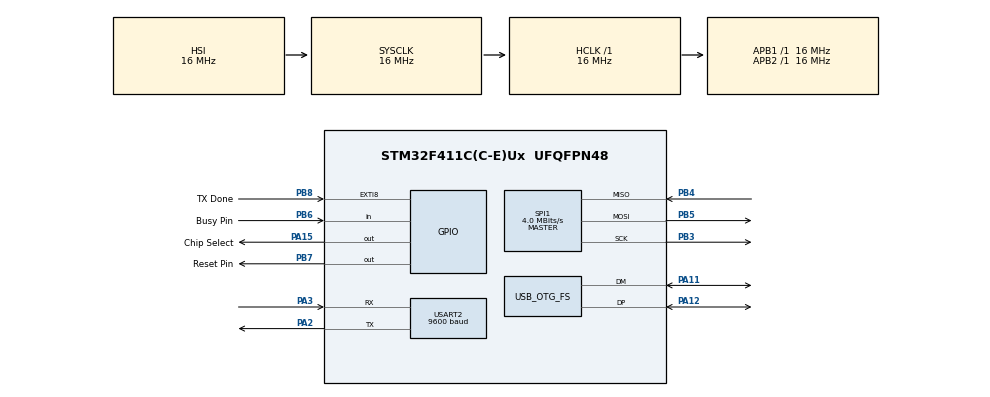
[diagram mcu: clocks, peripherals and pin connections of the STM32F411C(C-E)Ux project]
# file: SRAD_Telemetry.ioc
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Mcu.Family=STM32F4
Mcu.Name=STM32F411C(C-E)Ux
Mcu.Package=UFQFPN48
NVIC.EXTI9_5_IRQn=true\:0\:0\:false\:false\:true\:true\:true\:true
NVIC.OTG_FS_IRQn=true\:0\:0\:false\:false\:true\:true\:true\:true
NVIC.PriorityGroup=NVIC_PRIORITYGROUP_4
NVIC.USART2_IRQn=true\:0\:0\:false\:false\:true\:true\:true\:true
PA11.Mode=Device_Only
PA11.Signal=USB_OTG_FS_DM
PA12.Mode=Device_Only
PA12.Signal=USB_OTG_FS_DP
PA13.Mode=Serial_Wire
PA13.Signal=SYS_JTMS-SWDIO
PA14.Mode=Serial_Wire
PA14.Signal=SYS_JTCK-SWCLK
PA15.GPIO_Label=Chip Select
PA15.GPIO_Speed=GPIO_SPEED_FREQ_VERY_HIGH
PA15.Signal=GPIO_Output
PA2.Mode=Asynchronous
PA2.Signal=USART2_TX
PA3.Mode=Asynchronous
PA3.Signal=USART2_RX
PB3.Mode=Full_Duplex_Master
PB3.Signal=SPI1_SCK
PB4.Mode=Full_Duplex_Master
PB4.Signal=SPI1_MISO
PB5.Mode=Full_Duplex_Master
PB5.Signal=SPI1_MOSI
PB6.GPIO_Label=Busy Pin
PB6.GPIO_PuPd=GPIO_NOPULL
PB6.Signal=GPIO_Input
PB7.GPIO_Label=Reset Pin
PB7.GPIO_PuPd=GPIO_NOPULL
PB7.GPIO_Speed=GPIO_SPEED_FREQ_VERY_HIGH
PB7.Signal=GPIO_Output
PB8.GPIO_Label=TX Done
PB8.GPIO_ModeDefaultEXTI=GPIO_MODE_IT_RISING
PB8.GPIO_PuPd=GPIO_PULLDOWN
PB8.Signal=GPXTI8
PC14-OSC32_IN.Mode=LSE-External-Oscillator
PC14-OSC32_IN.Signal=RCC_OSC32_IN
PC15-OSC32_OUT.Mode=LSE-External-Oscillator
PC15-OSC32_OUT.Signal=RCC_OSC32_OUT
PH0\ -\ OSC_IN.Mode=HSE-External-Oscillator
PH0\ -\ OSC_IN.Signal=RCC_OSC_IN
PH1\ -\ OSC_OUT.Mode=HSE-External-Oscillator
PH1\ -\ OSC_OUT.Signal=RCC_OSC_OUT
ProjectManager.HeapSize=0x200
ProjectManager.StackSize=0x400
ProjectManager.TargetToolchain=STM32CubeIDE
RCC.48MHZClocksFreq_Value=48000000
RCC.AHBFreq_Value=16000000
RCC.APB1Freq_Value=16000000
RCC.APB2Freq_Value=16000000
RCC.CortexFreq_Value=16000000
RCC.HSE_VALUE=25000000
RCC.HSI_VALUE=16000000
RCC.PLLM=25
RCC.SYSCLKFreq_VALUE=16000000
RCC.VCOOutputFreq_Value=192000000
SPI1.BaudRatePrescaler=SPI_BAUDRATEPRESCALER_4
SPI1.CalculateBaudRate=4.0 MBits/s
SPI1.Direction=SPI_DIRECTION_2LINES
SPI1.Mode=SPI_MODE_MASTER
SPI1.VirtualType=VM_MASTER
USART2.BaudRate=9600
USART2.VirtualMode=VM_ASYNC
USB_DEVICE.CLASS_NAME_FS=CDC
USB_DEVICE.VirtualMode=Cdc
USB_DEVICE.VirtualModeFS=Cdc_FS
USB_OTG_FS.VirtualMode=Device_Only
VP_USB_DEVICE_VS_USB_DEVICE_CDC_FS.Mode=CDC_FS
board=custom

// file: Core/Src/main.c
/* USER CODE BEGIN Header */
/**
  ******************************************************************************
  * @file           : main.c
  * @brief          : Main program body
  ******************************************************************************
  * @attention
  *
  * Copyright (c) 2024 STMicroelectronics.
  * All rights reserved.
  *
  * This software is licensed under terms that can be found in the LICENSE file
  * in the root directory of this software component.
  * If no LICENSE file comes with this software, it is provided AS-IS.
  *
  ******************************************************************************
  */
/* USER CODE END Header */
#include "main.h"
#include "usb_device.h"

/* USER CODE BEGIN Includes */
#include <stdarg.h>

#include "lr_fhss_mac.h"
#include "lr_fhss_v1_base_types.h"
#include "lr_fhss_mac.h"
#include "sx126x_driver_version.h"
#include "sx126x_hal.h"
#include "sx126x_lr_fhss.h"
#include "sx126x_regs.h"
#include "sx126x.h"
#include "context.h"

/* USER CODE END Includes */

/* USER CODE BEGIN PD */
#define DEBUG_BUFFER_SIZE 128
/* USER CODE END PD */

SPI_HandleTypeDef hspi1;

UART_HandleTypeDef huart2;

void SystemClock_Config(void);
static void MX_GPIO_Init(void);
static void MX_USART2_UART_Init(void);
static void MX_SPI1_Init(void);
/* USER CODE BEGIN PFP */

void sx126x_init(e22trans *transmitter);
/* USER CODE END PFP */

/* USER CODE BEGIN 0 */
extern uint8_t CDC_Transmit_FS(uint8_t* Buf, uint16_t Len);

uint8_t gpsBuff[82];
uint8_t txDone = 0;

// This function takes a C-string, calculates its length, and sends it via CDC
void debugPrintf(const char* format, ...) {

	static char debugBuffer[DEBUG_BUFFER_SIZE];
    va_list args;
    va_start(args, format);

    // vsnprintf writes to debugBuffer, up to its size, including null terminator
    vsnprintf(debugBuffer, DEBUG_BUFFER_SIZE, format, args);

    va_end(args);

    // Now send the buffer over USB CDC
    CDC_Transmit_FS((uint8_t*)debugBuffer, (uint16_t)strlen(debugBuffer));
}

/* USER CODE END 0 */

int main(void)
{

  /* USER CODE BEGIN 1 */
//e22 stm32 context and param struct
 e22trans transmitter = {

	//Hardware context
	 {GPIOA, 			// Chip select port
	  GPIO_PIN_15,		// Chip select pin
	  GPIOB, 			// Busy pin port
	  GPIO_PIN_6, 		// Busy pin
	  GPIOB,			// Reset pin port
	  GPIO_PIN_7, 		// Reset pin
	  GPIOB,			// TxDone Port
	  GPIO_PIN_8,		// TxDone Pin
	  &hspi1}, 			// SPI handler

	//Lora params
	 {SX126X_LORA_SF12,   // Spreading Factor
	  SX126X_LORA_BW_125, // Bandwidth
	  SX126X_LORA_CR_4_8, // Coding Rate
	  0x00},			  // Low data rate optimize

	 //lora packet params
	 {12,    			// Preamble length in bits
	  0x00,    		    // Header type
	  7,				// Payload Length in bytes
	  0,   			    // Crc type
	  0},				// Invert IQ

	//Power Amplifier params
	 {0x04, 			// Pa_duty_cycle;
	  0x01, 			// Hp_max;
	  0x00, 			// Device_sel;
	  0x01}, 			// Pa_lut;*/

	//Misc
	  4,				// Output power in dbm
	  915000000,		// Frequency
	  "VA7GLW",         // Callsign
 };

  /* USER CODE END 1 */

  /* MCU Configuration--------------------------------------------------------*/

  /* Reset of all peripherals, Initializes the Flash interface and the Systick. */
  HAL_Init();

  /* Configure the system clock */
  SystemClock_Config();

  /* Initialize all configured peripherals */
  MX_GPIO_Init();
  MX_USB_DEVICE_Init();
  MX_USART2_UART_Init();
  MX_SPI1_Init();
  /* USER CODE BEGIN 2 */

  HAL_UART_Receive_IT(&huart2, gpsBuff, sizeof(gpsBuff));

  sx126x_init(&transmitter);

  uint8_t msg[11] = "-123456789";
  uint8_t transmitterRx[20];

  /* USER CODE END 2 */

  /* Infinite loop */
  /* USER CODE BEGIN WHILE */
  while (1)
  {

	  debugPrintf("Writing to Buffer :...\r\n\n\n");
	  sx126x_write_buffer(&transmitter, 6 , msg, 10);
	  HAL_Delay(1000);

	  sx126x_read_buffer(&transmitter, 0, transmitterRx, 17);
	  debugPrintf("Buffer: %s \r\n\n\n",transmitterRx);
	  sx126x_clear_irq_status( &transmitter, 0x01);
	  sx126x_set_tx(&transmitter, 1000);
	  HAL_Delay(1000);

    /* USER CODE END WHILE */

  }
}

void SystemClock_Config(void)
{
  RCC_OscInitTypeDef RCC_OscInitStruct = {0};
  RCC_ClkInitTypeDef RCC_ClkInitStruct = {0};

  /** Configure the main internal regulator output voltage
  */
  __HAL_RCC_PWR_CLK_ENABLE();
  __HAL_PWR_VOLTAGESCALING_CONFIG(PWR_REGULATOR_VOLTAGE_SCALE1);

  /** Initializes the RCC Oscillators according to the specified parameters
  * in the RCC_OscInitTypeDef structure.
  */
  RCC_OscInitStruct.OscillatorType = RCC_OSCILLATORTYPE_HSI|RCC_OSCILLATORTYPE_HSE;
  RCC_OscInitStruct.HSEState = RCC_HSE_ON;
  RCC_OscInitStruct.HSIState = RCC_HSI_ON;
  RCC_OscInitStruct.HSICalibrationValue = RCC_HSICALIBRATION_DEFAULT;
  RCC_OscInitStruct.PLL.PLLState = RCC_PLL_ON;
  RCC_OscInitStruct.PLL.PLLSource = RCC_PLLSOURCE_HSE;
  RCC_OscInitStruct.PLL.PLLM = 25;
  RCC_OscInitStruct.PLL.PLLN = 192;
  RCC_OscInitStruct.PLL.PLLP = RCC_PLLP_DIV2;
  RCC_OscInitStruct.PLL.PLLQ = 4;
  if (HAL_RCC_OscConfig(&RCC_OscInitStruct) != HAL_OK)
  {
    Error_Handler();
  }

  /** Initializes the CPU, AHB and APB buses clocks
  */
  RCC_ClkInitStruct.ClockType = RCC_CLOCKTYPE_HCLK|RCC_CLOCKTYPE_SYSCLK
                              |RCC_CLOCKTYPE_PCLK1|RCC_CLOCKTYPE_PCLK2;
  RCC_ClkInitStruct.SYSCLKSource = RCC_SYSCLKSOURCE_HSI;
  RCC_ClkInitStruct.AHBCLKDivider = RCC_SYSCLK_DIV1;
  RCC_ClkInitStruct.APB1CLKDivider = RCC_HCLK_DIV1;
  RCC_ClkInitStruct.APB2CLKDivider = RCC_HCLK_DIV1;

  if (HAL_RCC_ClockConfig(&RCC_ClkInitStruct, FLASH_LATENCY_0) != HAL_OK)
  {
    Error_Handler();
  }
}

static void MX_SPI1_Init(void)
{

  /* SPI1 parameter configuration*/
  hspi1.Instance = SPI1;
  hspi1.Init.Mode = SPI_MODE_MASTER;
  hspi1.Init.Direction = SPI_DIRECTION_2LINES;
  hspi1.Init.DataSize = SPI_DATASIZE_8BIT;
  hspi1.Init.CLKPolarity = SPI_POLARITY_LOW;
  hspi1.Init.CLKPhase = SPI_PHASE_1EDGE;
  hspi1.Init.NSS = SPI_NSS_SOFT;
  hspi1.Init.BaudRatePrescaler = SPI_BAUDRATEPRESCALER_2;
  hspi1.Init.FirstBit = SPI_FIRSTBIT_MSB;
  hspi1.Init.TIMode = SPI_TIMODE_DISABLE;
  hspi1.Init.CRCCalculation = SPI_CRCCALCULATION_DISABLE;
  hspi1.Init.CRCPolynomial = 10;
  if (HAL_SPI_Init(&hspi1) != HAL_OK)
  {
    Error_Handler();
  }

}

static void MX_USART2_UART_Init(void)
{

  huart2.Instance = USART2;
  huart2.Init.BaudRate = 9600;
  huart2.Init.WordLength = UART_WORDLENGTH_8B;
  huart2.Init.StopBits = UART_STOPBITS_1;
  huart2.Init.Parity = UART_PARITY_NONE;
  huart2.Init.Mode = UART_MODE_TX_RX;
  huart2.Init.HwFlowCtl = UART_HWCONTROL_NONE;
  huart2.Init.OverSampling = UART_OVERSAMPLING_16;
  if (HAL_UART_Init(&huart2) != HAL_OK)
  {
    Error_Handler();
  }

}

static void MX_GPIO_Init(void)
{
  GPIO_InitTypeDef GPIO_InitStruct = {0};

  /* GPIO Ports Clock Enable */
  __HAL_RCC_GPIOC_CLK_ENABLE();
  __HAL_RCC_GPIOH_CLK_ENABLE();
  __HAL_RCC_GPIOA_CLK_ENABLE();
  __HAL_RCC_GPIOB_CLK_ENABLE();

  /*Configure GPIO pin Output Level */
  HAL_GPIO_WritePin(GPIOA, GPIO_PIN_15, GPIO_PIN_RESET);

  /*Configure GPIO pin Output Level */
  HAL_GPIO_WritePin(GPIOB, GPIO_PIN_7, GPIO_PIN_RESET);

  /*Configure GPIO pin : PA15 */
  GPIO_InitStruct.Pin = GPIO_PIN_15;
  GPIO_InitStruct.Mode = GPIO_MODE_OUTPUT_PP;
  GPIO_InitStruct.Pull = GPIO_NOPULL;
  GPIO_InitStruct.Speed = GPIO_SPEED_FREQ_LOW;
  HAL_GPIO_Init(GPIOA, &GPIO_InitStruct);

  /*Configure GPIO pin : PB6 */
  GPIO_InitStruct.Pin = GPIO_PIN_6;
  GPIO_InitStruct.Mode = GPIO_MODE_INPUT;
  GPIO_InitStruct.Pull = GPIO_NOPULL;
  HAL_GPIO_Init(GPIOB, &GPIO_InitStruct);

  /*Configure GPIO pin : PB7 */
  GPIO_InitStruct.Pin = GPIO_PIN_7;
  GPIO_InitStruct.Mode = GPIO_MODE_OUTPUT_PP;
  GPIO_InitStruct.Pull = GPIO_NOPULL;
  GPIO_InitStruct.Speed = GPIO_SPEED_FREQ_LOW;
  HAL_GPIO_Init(GPIOB, &GPIO_InitStruct);

  /*Configure GPIO pin : PB8 */
  GPIO_InitStruct.Pin = GPIO_PIN_8;
  GPIO_InitStruct.Mode = GPIO_MODE_IT_RISING;
  GPIO_InitStruct.Pull = GPIO_NOPULL;
  HAL_GPIO_Init(GPIOB, &GPIO_InitStruct);

  /* EXTI interrupt init*/
  HAL_NVIC_SetPriority(EXTI9_5_IRQn, 0, 0);
  HAL_NVIC_EnableIRQ(EXTI9_5_IRQn);

}

/* USER CODE BEGIN 4 */

/**
 * @brief Initializes the SX126x-based E22 transmitter for LoRa transmission.
 *
 * This function follows the SX126x datasheet's recommended startup sequence
 * to prepare the radio for basic transmission using LoRa modulation.
 * It resets and wakes up the transceiver, configures TCXO control,
 * performs calibration, sets power and modulation parameters,
 * and configures interrupt behavior for TX completion.
 *
 * @param transmitter Pointer to an e22trans structure containing
 *                    hardware configuration and LoRa settings.
 */

void sx126x_init(e22trans *transmitter){
// Follows sequence of operations laid out it SX126X data sheet
// for basic TX operation

	// Get pointer to hardware-specific context
	sx126x_context* stm32Context = &transmitter->hardwareConfig;

	// Reset Transmitter (Reset is active Low)
	sx126x_hal_reset(stm32Context);

	// Wake up the transceiver (required after reset or sleep)
	sx126x_hal_wakeup(stm32Context);

	// Enter standby mode using internal RC oscillator (fast startup)
	sx126x_set_standby(stm32Context,SX126X_STANDBY_CFG_RC);

	//Configures DIO3 to supply power to an external TCXO (Temperature Compensated Crystal Oscillator)
	//Output 1.8V as stated in E22 datasheet, could be 3.3V as shown in their screen capture.
	sx126x_set_dio3_as_tcxo_ctrl(stm32Context,SX126X_TCXO_CTRL_3_3V ,320);

	//Calibrate all blocks (mask 0xFF enables full calibration: ADC, PLL, etc.)
	sx126x_cal(stm32Context,0xFF);

	//Set regulator mode to use DC-DC for power saving
	sx126x_set_reg_mode(stm32Context,SX126X_REG_MODE_LDO);

	//Set packet type to LoRa (alternatively FSK)
	sx126x_set_pkt_type(stm32Context,SX126X_PKT_TYPE_LORA );

	//Configure LoRa modulation parameters (e.g., spreading factor, bandwidth, coding rate)
	sx126x_set_lora_mod_params(stm32Context,&transmitter->loraParams);

	//Configure LoRa packet parameters (e.g., preamble length, payload length, CRC, header type)
	sx126x_set_lora_pkt_params(stm32Context,&transmitter->pktParams);

	//Set LoRa sync word (0x12 is a public LoRa network sync word)
	sx126x_set_lora_sync_word(stm32Context, 0x12);

	//Set RF frequency
	sx126x_set_rf_freq(stm32Context,transmitter->frequency);

	//Configure PA (Power Amplifier) parameters (e.g., PA duty cycle, HP/LP selection)
	sx126x_set_pa_cfg(stm32Context, &transmitter->paParams);

	//Set TX output power and ramp time (PWR_DBM is a predefined dBm value, ramp in 40 µs)
	sx126x_set_tx_params(stm32Context,transmitter->paPower,SX126X_RAMP_40_US);

	//Set base addresses for TX and RX buffers (TX: 0x00, RX: 0xFF, unused here)
	sx126x_set_buffer_base_address(stm32Context,0x00,0x00);

	//Configure DIO1 to raise an interrupt on TX done
	uint8_t irqMask  = 0x01;	// IRQ for TX done
	uint8_t dio1Mask = 0x01;	// Map TX done to DIO1
	uint8_t dio2Mask = 0x00;
	uint8_t dio3Mask = 0x00;

	//Set DIO 1 for tx_done interrupt
	sx126x_set_dio_irq_params(stm32Context, irqMask , dio1Mask, dio2Mask, dio3Mask);

	// Optional: preload call sign or header into buffer
	sx126x_write_buffer(stm32Context,0x00,transmitter->callSign,6);

}

void HAL_GPIO_EXTI_Callback(uint16_t GPIO_Pin)
{
    if (GPIO_Pin == GPIO_PIN_8){
       txDone = true; //set transmission flag
    }

}

void HAL_SPI_RxCpltCallback(SPI_HandleTypeDef *hspi) {

}

void HAL_UART_RxCpltCallback(UART_HandleTypeDef *huart)
{

	HAL_UART_Receive_IT(&huart2, gpsBuff, sizeof(gpsBuff));

}
/* USER CODE END 4 */

void Error_Handler(void)
{
  __disable_irq();
  while (1)
  {
  }
}
